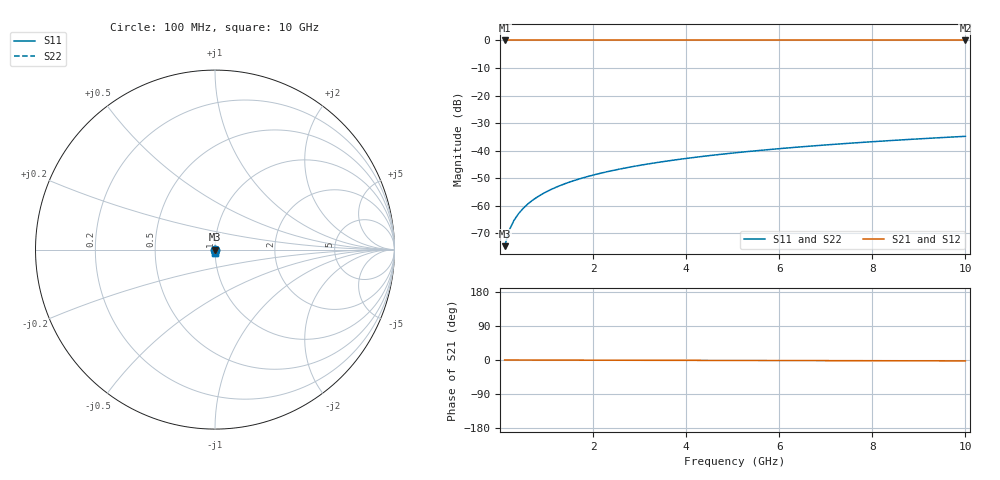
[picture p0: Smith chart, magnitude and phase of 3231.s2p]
# Hz S RI R 50.00
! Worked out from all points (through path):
!   100 points, 100 MHz to 10 GHz, reference 50 ohm
!   highest |S21| = 0.00 dB at 100 MHz (marker M1); lowest = 0.0 dB at 10 GHz (marker M2)
!   lowest |S11| = -74.6 dB at 100 MHz (marker M3), VSWR 1.00, Z = 50 - j0.018 ohm
!   |S11| at or under -10 dB: start of sweep to end of sweep
!   |S22| runs from -74.6 to -34.8 dB; largest |S21 - S12| = 0
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1e8  4.4e-05 -0.00018  1 -0.000408  1 -0.000408  4.4e-05 -0.00018
2e8  4.38e-05 -0.00036  1 -0.000815  1 -0.000815  4.38e-05 -0.00036
3e8  4.34e-05 -0.00054  1 -0.00122  1 -0.00122  4.34e-05 -0.00054
4e8  4.28e-05 -0.00072  1 -0.00163  1 -0.00163  4.28e-05 -0.00072
5e8  4.2e-05 -0.000901  0.9999 -0.00204  0.9999 -0.00204  4.2e-05 -0.000901
6e8  4.11e-05 -0.00108  0.9999 -0.00245  0.9999 -0.00245  4.11e-05 -0.00108
7e8  4e-05 -0.00126  0.9999 -0.00285  0.9999 -0.00285  4e-05 -0.00126
8e8  3.87e-05 -0.00144  0.9999 -0.00326  0.9999 -0.00326  3.87e-05 -0.00144
9e8  3.73e-05 -0.00162  0.9999 -0.00367  0.9999 -0.00367  3.73e-05 -0.00162
1.1e9  3.4e-05 -0.00198  0.9999 -0.00449  0.9999 -0.00449  3.4e-05 -0.00198
1.4e9  2.79e-05 -0.00252  0.9999 -0.00571  0.9999 -0.00571  2.79e-05 -0.00252
1.8e9  1.77e-05 -0.00325  0.9999 -0.00734  0.9999 -0.00734  1.77e-05 -0.00325
2.1e9  8.42e-06 -0.00379  0.9999 -0.00857  0.9999 -0.00857  8.42e-06 -0.00379
2.5e9  -6.01e-06 -0.00451  0.9999 -0.0102  0.9999 -0.0102  -6.01e-06 -0.00451
2.9e9  -2.28e-05 -0.00524  0.9999 -0.0118  0.9999 -0.0118  -2.28e-05 -0.00524
3.4e9  -4.73e-05 -0.00614  0.9998 -0.0139  0.9998 -0.0139  -4.73e-05 -0.00614
4.2e9  -9.42e-05 -0.0076  0.9998 -0.0172  0.9998 -0.0172  -9.42e-05 -0.0076
5.1e9  -0.000159 -0.00924  0.9997 -0.0209  0.9997 -0.0209  -0.000159 -0.00924
5.9e9  -0.000226 -0.0107  0.9996 -0.0242  0.9996 -0.0242  -0.000226 -0.0107
6.7e9  -0.000304 -0.0122  0.9995 -0.0275  0.9995 -0.0275  -0.000304 -0.0122
8.4e9  -0.000501 -0.0153  0.9992 -0.0345  0.9992 -0.0345  -0.000501 -0.0153
1e10  -0.000728 -0.0182  0.9989 -0.0412  0.9989 -0.0412  -0.000728 -0.0182
